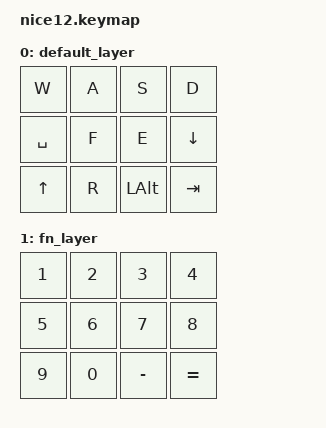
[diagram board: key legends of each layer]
#include <dt-bindings/zmk/keys.h>
#include <behaviors.dtsi>

/ {
    keymap {
        compatible = "zmk,keymap";

        default_layer {
            bindings = <
                &kp W     &kp A     &kp S     &kp D
                &kp SPACE &kp F     &kp E     &kp DOWN
                &kp UP    &kp R     &kp LALT  &kp TAB
            >;
        };

        // 可选：FN层（以后扩展）
        fn_layer {
            bindings = <
                &kp N1    &kp N2    &kp N3    &kp N4
                &kp N5    &kp N6    &kp N7    &kp N8
                &kp N9    &kp N0    &kp MINUS &kp EQUAL
            >;
        };
    };
};
